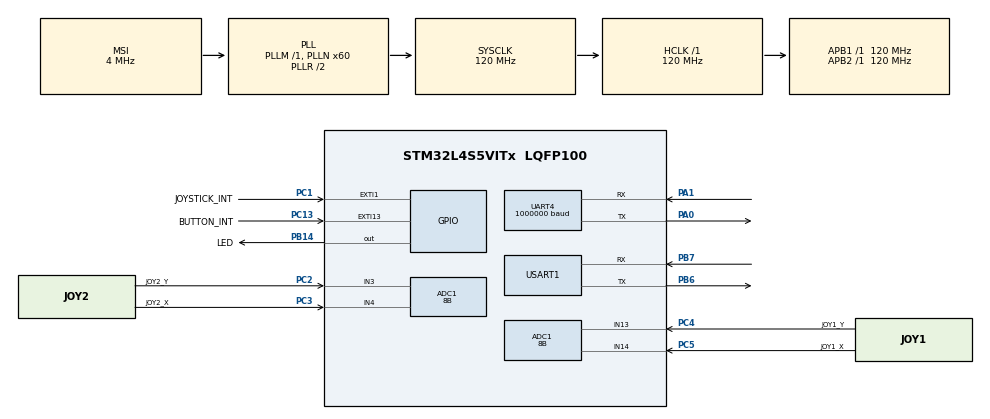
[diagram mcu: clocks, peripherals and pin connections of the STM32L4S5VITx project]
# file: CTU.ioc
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ADC1.Channel-0\#ChannelRegularConversion=ADC_CHANNEL_14
ADC1.Channel-1\#ChannelRegularConversion=ADC_CHANNEL_13
ADC1.Channel-2\#ChannelRegularConversion=ADC_CHANNEL_4
ADC1.Channel-3\#ChannelRegularConversion=ADC_CHANNEL_3
ADC1.ContinuousConvMode=DISABLE
ADC1.DiscontinuousConvMode=DISABLE
ADC1.NbrOfConversion=4
ADC1.NbrOfConversionFlag=1
ADC1.OffsetNumber-0\#ChannelRegularConversion=ADC_OFFSET_NONE
ADC1.OffsetNumber-1\#ChannelRegularConversion=ADC_OFFSET_NONE
ADC1.OffsetNumber-2\#ChannelRegularConversion=ADC_OFFSET_NONE
ADC1.OffsetNumber-3\#ChannelRegularConversion=ADC_OFFSET_NONE
ADC1.Rank-0\#ChannelRegularConversion=1
ADC1.Rank-1\#ChannelRegularConversion=2
ADC1.Rank-2\#ChannelRegularConversion=3
ADC1.Rank-3\#ChannelRegularConversion=4
ADC1.Resolution=ADC_RESOLUTION_8B
ADC1.SamplingTime-0\#ChannelRegularConversion=ADC_SAMPLETIME_47CYCLES_5
ADC1.SamplingTime-1\#ChannelRegularConversion=ADC_SAMPLETIME_47CYCLES_5
ADC1.SamplingTime-2\#ChannelRegularConversion=ADC_SAMPLETIME_47CYCLES_5
ADC1.SamplingTime-3\#ChannelRegularConversion=ADC_SAMPLETIME_47CYCLES_5
ADC1.master=1
Dma.ADC1.0.Direction=DMA_PERIPH_TO_MEMORY
Dma.ADC1.0.EventEnable=DISABLE
Dma.ADC1.0.Instance=DMA1_Channel1
Dma.ADC1.0.MemDataAlignment=DMA_MDATAALIGN_BYTE
Dma.ADC1.0.MemInc=DMA_MINC_ENABLE
Dma.ADC1.0.Mode=DMA_NORMAL
Dma.ADC1.0.PeriphDataAlignment=DMA_PDATAALIGN_HALFWORD
Dma.ADC1.0.PeriphInc=DMA_PINC_DISABLE
Dma.ADC1.0.Polarity=HAL_DMAMUX_REQUEST_GEN_RISING
Dma.ADC1.0.Priority=DMA_PRIORITY_LOW
Dma.ADC1.0.RequestNumber=1
Dma.ADC1.0.SignalID=NONE
Dma.ADC1.0.SyncEnable=DISABLE
Dma.ADC1.0.SyncPolarity=HAL_DMAMUX_SYNC_NO_EVENT
Dma.ADC1.0.SyncRequestNumber=1
Dma.ADC1.0.SyncSignalID=NONE
Dma.Request0=ADC1
Dma.Request1=USART1_TX
Dma.USART1_TX.1.Direction=DMA_MEMORY_TO_PERIPH
Dma.USART1_TX.1.EventEnable=DISABLE
Dma.USART1_TX.1.Instance=DMA1_Channel2
Dma.USART1_TX.1.MemDataAlignment=DMA_MDATAALIGN_BYTE
Dma.USART1_TX.1.MemInc=DMA_MINC_ENABLE
Dma.USART1_TX.1.Mode=DMA_NORMAL
Dma.USART1_TX.1.PeriphDataAlignment=DMA_PDATAALIGN_BYTE
Dma.USART1_TX.1.PeriphInc=DMA_PINC_DISABLE
Dma.USART1_TX.1.Polarity=HAL_DMAMUX_REQUEST_GEN_RISING
Dma.USART1_TX.1.Priority=DMA_PRIORITY_LOW
Dma.USART1_TX.1.RequestNumber=1
Dma.USART1_TX.1.SignalID=NONE
Dma.USART1_TX.1.SyncEnable=DISABLE
Dma.USART1_TX.1.SyncPolarity=HAL_DMAMUX_SYNC_NO_EVENT
Dma.USART1_TX.1.SyncRequestNumber=1
Dma.USART1_TX.1.SyncSignalID=NONE
Mcu.Family=STM32L4
Mcu.Name=STM32L4S5VITx
Mcu.Package=LQFP100
NVIC.DMA1_Channel1_IRQn=true\:0\:0\:false\:false\:true\:false\:true\:true
NVIC.DMA1_Channel2_IRQn=true\:0\:0\:false\:false\:true\:false\:true\:true
NVIC.EXTI15_10_IRQn=true\:0\:0\:false\:false\:true\:true\:true\:true
NVIC.EXTI1_IRQn=true\:0\:0\:false\:false\:true\:true\:true\:true
NVIC.PriorityGroup=NVIC_PRIORITYGROUP_4
NVIC.UART4_IRQn=true\:0\:0\:false\:false\:true\:true\:true\:true
NVIC.USART1_IRQn=true\:0\:0\:false\:false\:true\:true\:true\:true
PA0.Mode=Asynchronous
PA0.Signal=UART4_TX
PA1.Mode=Asynchronous
PA1.Signal=UART4_RX
PB14.GPIO_Label=LED
PB14.Signal=GPIO_Output
PB6.Mode=Asynchronous
PB6.Signal=USART1_TX
PB7.Mode=Asynchronous
PB7.Signal=USART1_RX
PC1.GPIO_Label=JOYSTICK_INT
PC1.GPIO_ModeDefaultEXTI=GPIO_MODE_IT_FALLING
PC1.Signal=GPXTI1
PC13.GPIO_Label=BUTTON_INT
PC13.Signal=GPXTI13
PC2.GPIO_Label=JOY2_Y
PC2.Signal=ADCx_IN3
PC3.GPIO_Label=JOY2_X
PC3.Signal=ADCx_IN4
PC4.GPIO_Label=JOY1_Y
PC4.Signal=ADCx_IN13
PC5.GPIO_Label=JOY1_X
PC5.Signal=ADCx_IN14
PE10.Signal=OCTOSPIM_P1_CLK
PE11.Signal=OCTOSPIM_P1_NCS
PE12.Signal=OCTOSPIM_P1_IO0
PE13.Signal=OCTOSPIM_P1_IO1
PE14.Signal=OCTOSPIM_P1_IO2
PE15.Signal=OCTOSPIM_P1_IO3
ProjectManager.HeapSize=0x200
ProjectManager.StackSize=0x400
ProjectManager.TargetToolchain=STM32CubeIDE
RCC.ADCFreq_Value=48000000
RCC.AHBFreq_Value=120000000
RCC.APB1Freq_Value=120000000
RCC.APB1TimFreq_Value=120000000
RCC.APB2Freq_Value=120000000
RCC.APB2TimFreq_Value=120000000
RCC.CortexFreq_Value=120000000
RCC.HCLKFreq_Value=120000000
RCC.HSE_VALUE=8000000
RCC.HSI48_VALUE=48000000
RCC.HSI_VALUE=16000000
RCC.LSE_VALUE=32768
RCC.MSI_VALUE=4000000
RCC.PLLN=60
RCC.PLLSAI1N=24
RCC.SYSCLKFreq_VALUE=120000000
RCC.SYSCLKSource=RCC_SYSCLKSOURCE_PLLCLK
RCC.USBFreq_Value=48000000
RCC.VCOOutputFreq_Value=240000000
SH.ADCx_IN13.0=ADC1_IN13,IN13-Single-Ended
SH.ADCx_IN14.0=ADC1_IN14,IN14-Single-Ended
SH.ADCx_IN3.0=ADC1_IN3,IN3-Single-Ended
SH.ADCx_IN4.0=ADC1_IN4,IN4-Single-Ended
UART4.BaudRate=1000000
USART1.VirtualMode-Asynchronous=VM_ASYNC
VP_OCTOSPI1_VS_quad.Mode=quad_mode
board=B-L4S5I-IOT01A

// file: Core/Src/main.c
/* USER CODE BEGIN Header */
/**
  ******************************************************************************
  * @file           : main.c
  * @brief          : Main program body
  ******************************************************************************
  * @attention
  *
  * Copyright (c) 2023 STMicroelectronics.
  * All rights reserved.
  *
  * This software is licensed under terms that can be found in the LICENSE file
  * in the root directory of this software component.
  * If no LICENSE file comes with this software, it is provided AS-IS.
  *
  ******************************************************************************
  */
/* USER CODE END Header */
#include "main.h"
#include "adc.h"
#include "dma.h"
#include "octospi.h"
#include "usart.h"
#include "gpio.h"

/* USER CODE BEGIN Includes */

#include "jci.h"

#include "stm32l4s5i_iot01_qspi.h"

/* USER CODE END Includes */

/* USER CODE BEGIN PD */

#define PRINT(s) HAL_UART_Transmit(&huart1, s, strlen(s), HAL_MAX_DELAY)
#define UIPRINT(s) HAL_UART_Transmit_DMA(&huart1, s, strlen(s))

/* USER CODE END PD */

/* USER CODE BEGIN PV */

/****** JCI protocol ******/

#define MAX_JCI_PACKET_SIZE (3 + 256 * 3 + 1)

//DATA SENDER TX
uint8_t txpacket[MAX_JCI_PACKET_SIZE] = {0};

volatile jci_t jci_tx = {
		.TRANS = 'S',
		.CHECKSUM_EN = 1,
		.GRAN = 1,
		.PTYPE = 0,
		.PSIZE = 4,
		.SOURCE = 0,
		.CONT = 1
};
uint8_t txdata[4] = {
		4,
		5,
		90,
		156
};
uint8_t txid[4] = {
		'0',
		'1',
		'y',
		'p'
};

//DATA SENDER RX
uint8_t rxpacket[MAX_JCI_PACKET_SIZE] = {0};
volatile jci_t jci_rx;
uint8_t rxdata[4] = {0};
uint8_t rxid[4] = {0};
volatile uint8_t rxflag = 0;

/****** State Logic ******/
typedef enum{
	STOPPED,
	REALTIME,
	PLAYBACK
}state_e;

volatile uint8_t state = REALTIME;	//state flag
volatile uint8_t recording = 0; 	//flag to indicate if recording
volatile uint8_t full = 0;

/****** Joystick ******/

//DMA storing address, array length of 4:
//Joy1_X, Joy1_Y, Joy2_X, Joy2_Y
volatile uint8_t joysticksVal[4];
volatile uint8_t conversionFlag = 0; //flag wait for conversion
char buff[200];

/****** Flash ******/

#define FLASH_BLOCK_SIZE 128000 // flash block size
volatile uint8_t* flash_write_ptr = 0;
volatile uint8_t* flash_read_ptr = 0;

/****** UI ******/
void ui_printTxData(jci_t jci, uint8_t* data, uint8_t* ids, uint8_t state, uint8_t rec);
#define MAX_UI_DELAY 100
uint32_t ui_timediff;

/* USER CODE END PV */

void SystemClock_Config(void);

int main(void)
{

  /* MCU Configuration--------------------------------------------------------*/

  /* Reset of all peripherals, Initializes the Flash interface and the Systick. */
  HAL_Init();

  /* Configure the system clock */
  SystemClock_Config();

  /* Initialize all configured peripherals */
  MX_GPIO_Init();
  MX_DMA_Init();
  MX_UART4_Init();
  MX_USART1_UART_Init();
  MX_ADC1_Init();
  MX_OCTOSPI1_Init();
  /* USER CODE BEGIN 2 */
  BSP_QSPI_Init();

  //JCI packets
  int txpacketsize = 0;
  uint8_t cflow = 0;

  //Playback recording
  uint32_t timediff = 0;
  uint8_t flash_buffer[2*MAX_JCI_PACKET_SIZE] = {0};

  //Delay control
	#define MAX_LOOP_DELAY 20 //loop delay in ms
  	uint32_t loop_delay = 0;

  	PRINT("\r\n/***** CTU init *****/\r\n");

    //Start RX
    HAL_UARTEx_ReceiveToIdle_IT(&huart4, rxpacket, MAX_JCI_PACKET_SIZE);

    //Initial time sampling
    timediff = HAL_GetTick();
    loop_delay = HAL_GetTick();

  /* USER CODE END 2 */

  /* Infinite loop */
  /* USER CODE BEGIN WHILE */
  while (1)
  {

	  /***** STATE CONTROL AND DATA ACQUISITION *****/
	  switch (state)
	  {
	  	  case STOPPED:

	  		  UIPRINT("\rSTOPPED                                                                       ");
	  		  //Put to sleep
	  		  HAL_SuspendTick();
	  		  HAL_PWR_EnableSleepOnExit();
	  		  HAL_PWR_EnterSLEEPMode(PWR_MAINREGULATOR_ON,PWR_SLEEPENTRY_WFI);

	  		  //Only comes out to main if change of state
	  		  HAL_ResumeTick();

	  		  //Reset time difference to current tick
	  		  timediff = HAL_GetTick();

	  		  //Reset recording state
	  		  recording = 0;
	  		  full = 0;
	  		  flash_write_ptr = 0;

	  		  break;

	  	  case PLAYBACK:

	  		  if(flash_read_ptr < flash_write_ptr){ //if not done reading

	  			//Read back joystick data
	  			BSP_QSPI_Read(flash_buffer, flash_read_ptr, 8);

	  			//Update flash pointer
	  			flash_read_ptr += 8;

	  			//Copy pot data
	  			memcpy(joysticksVal, flash_buffer, 4);

	  			//Copy delay
	  			memcpy(&timediff, flash_buffer + 4, 4);

	  		  }else{
	  			  //Playback done
	  			  recording = 2;
	  		  }
	  		  break;

	  	  case REALTIME:

			  //Joystick control values
			  jci_getPot();

			  break;
	  }

	  /***** JCI TX/RX *****/
	  //JCI tx packet
	  if(jci_tx.CONTACCEPT){
		  if(cflow == 0){
			  PRINT("\r\nENTERING C-flow\r\n");
			  cflow = 1;
		  }
		  //C-flow obtained
		  jci_tx.TRANS = 'C';
	  }else{
		  cflow = 0;
		  //Back to S packets
		  jci_tx.TRANS = 'S';
	  }
	  txpacketsize = jci_buildPacket(&jci_tx, joysticksVal, txid, txpacket);
	  if(txpacketsize == 0){
		  PRINT("\r\nERROR: build packet\r\n");
	  }else{
		  HAL_UART_Transmit(&huart4, txpacket, txpacketsize, HAL_MAX_DELAY);
	  }

//	  //Check for JCI RX packet
//	  if(rxflag){
//		  rxflag = 0;
//
//		  ui_printRxData(jci_rx, rxdata, rxid);
//
//		  //Wait for next packet
//		  HAL_UARTEx_ReceiveToIdle_IT(&huart4, rxpacket, MAX_JCI_PACKET_SIZE);
//	  }

	  /***** RECORDING *****/
	  //Playback recording
	  if(recording == 1){ //start or continue recording
		  //Record to Flash with time passed from previous sample
		  //to reproduce the delays accurately

		  //Copy pot data
		  memcpy(flash_buffer, joysticksVal, 4);

		  //Copy delay
		  timediff = HAL_GetTick() - timediff;
		  memcpy(flash_buffer + 4, &timediff, 4);
		  timediff = HAL_GetTick();

		  //Check if full, in which case stop recording and indicate
		  //that it's full

		  //Store into Flash
		  BSP_QSPI_Write(flash_buffer, flash_write_ptr, 8);

		  //Update flash pointer
		  flash_write_ptr += 8;

		  if(flash_write_ptr > FLASH_BLOCK_SIZE){
			  full = 1;
			  recording = 2;
			  UIPRINT("\r\n/***** Flash Full - Back to RealTime *****/\r\n");
		  }

	  }

	  HAL_Delay(20);

	  /***** UI *****/
	  if((HAL_GetTick() - ui_timediff) > MAX_UI_DELAY){
		  ui_timediff = HAL_GetTick();

		  //CLI current data and IDs for joystick values
		  ui_printTxData(jci_tx, joysticksVal, txid, state, recording);

	  }

	  /***** LOOP DELAY *****/
	  while((HAL_GetTick() - loop_delay) < MAX_LOOP_DELAY){}
	  loop_delay = HAL_GetTick();

    /* USER CODE END WHILE */

  }
}

void SystemClock_Config(void)
{
  RCC_OscInitTypeDef RCC_OscInitStruct = {0};
  RCC_ClkInitTypeDef RCC_ClkInitStruct = {0};

  /** Configure the main internal regulator output voltage
  */
  if (HAL_PWREx_ControlVoltageScaling(PWR_REGULATOR_VOLTAGE_SCALE1_BOOST) != HAL_OK)
  {
    Error_Handler();
  }

  /** Initializes the RCC Oscillators according to the specified parameters
  * in the RCC_OscInitTypeDef structure.
  */
  RCC_OscInitStruct.OscillatorType = RCC_OSCILLATORTYPE_MSI;
  RCC_OscInitStruct.MSIState = RCC_MSI_ON;
  RCC_OscInitStruct.MSICalibrationValue = 0;
  RCC_OscInitStruct.MSIClockRange = RCC_MSIRANGE_6;
  RCC_OscInitStruct.PLL.PLLState = RCC_PLL_ON;
  RCC_OscInitStruct.PLL.PLLSource = RCC_PLLSOURCE_MSI;
  RCC_OscInitStruct.PLL.PLLM = 1;
  RCC_OscInitStruct.PLL.PLLN = 60;
  RCC_OscInitStruct.PLL.PLLP = RCC_PLLP_DIV2;
  RCC_OscInitStruct.PLL.PLLQ = RCC_PLLQ_DIV2;
  RCC_OscInitStruct.PLL.PLLR = RCC_PLLR_DIV2;
  if (HAL_RCC_OscConfig(&RCC_OscInitStruct) != HAL_OK)
  {
    Error_Handler();
  }

  /** Initializes the CPU, AHB and APB buses clocks
  */
  RCC_ClkInitStruct.ClockType = RCC_CLOCKTYPE_HCLK|RCC_CLOCKTYPE_SYSCLK
                              |RCC_CLOCKTYPE_PCLK1|RCC_CLOCKTYPE_PCLK2;
  RCC_ClkInitStruct.SYSCLKSource = RCC_SYSCLKSOURCE_PLLCLK;
  RCC_ClkInitStruct.AHBCLKDivider = RCC_SYSCLK_DIV1;
  RCC_ClkInitStruct.APB1CLKDivider = RCC_HCLK_DIV1;
  RCC_ClkInitStruct.APB2CLKDivider = RCC_HCLK_DIV1;

  if (HAL_RCC_ClockConfig(&RCC_ClkInitStruct, FLASH_LATENCY_5) != HAL_OK)
  {
    Error_Handler();
  }
}

/* USER CODE BEGIN 4 */

uint32_t but_debounce = 0;
uint32_t joy_debounce = 0;
#define MIN_DEBOUNCE_TIME 100

void HAL_GPIO_EXTI_Callback(uint16_t GPIO_Pin){

	if(GPIO_Pin == BUTTON_INT_Pin){

		if(((HAL_GetTick() - but_debounce) > MIN_DEBOUNCE_TIME) || (state == STOPPED)){

			but_debounce = HAL_GetTick();

			//State change
			state++;
			if(state > PLAYBACK){
				state = STOPPED;
			}

			if(state == PLAYBACK){
				UIPRINT("\r\n/***** Playback Mode *****/\r\n");
				//Reset Flash read logic
				full = 0;
				flash_read_ptr = 0;
				recording = 0;

			}

			if (state == REALTIME){
				UIPRINT("\r\n/***** RealTime Mode *****/\r\n");
			}

			//Wake up to new state
			HAL_PWR_DisableSleepOnExit();

		}

	}

	//Can only record if realtime
	if(GPIO_Pin == JOYSTICK_INT_Pin && (state == REALTIME)){

		if((HAL_GetTick() - joy_debounce) > MIN_DEBOUNCE_TIME){

			joy_debounce = HAL_GetTick();

			//Toggle the recording state
			recording = !recording;

			//If recording, reset Flash state
			if(recording == 1){

				//UIPRINT("\r\n/***** Recording Mode *****/\r\n");
				//Erase Flash Block (only using first one)
				BSP_QSPI_Erase_Block(0);

				//Reset recording logic
				full = 0;
				flash_write_ptr = 0;
			}

			//If exiting recording, message to state it
			if(recording == 0){

				UIPRINT("\r\n/***** Recording Stopped - Back to RealTime *****/\r\n");

			}

		}

	}

}

void HAL_UARTEx_RxEventCallback(UART_HandleTypeDef *huart, uint16_t Size){

	if(huart == &huart4){

		char trans = ' ';
		uint8_t* addr;

		char buffer[256];
		int rxpacketsize = 0;

		//Check for JCI packet
		addr = jci_findPacket(rxpacket, Size, &trans);
		if(trans != ' '){

			//Parse packet
			rxpacketsize = jci_parsePacket(&jci_rx, rxdata, rxid, addr);

			//Check for C-flow
			jci_confirmCFlow(&jci_tx, txid, &jci_rx, rxid);

			//Indicate that packet is received
			rxflag = 1;
		}

		//RX again
		HAL_UARTEx_ReceiveToIdle_IT(&huart4, rxpacket, MAX_JCI_PACKET_SIZE);

	}

}

//function to update the joystick values
void jci_getPot(void) {

	//calibrate ADC
	HAL_ADCEx_Calibration_Start(&hadc1, ADC_SINGLE_ENDED); //single ended reference if we look at the figures of the ADC

	//start ADC DMA
	HAL_ADC_Start_DMA(&hadc1, (uint32_t *)joysticksVal, 4);

	while(conversionFlag == 0) {
		//wait for conversion to end
	}

	//clear flag
	conversionFlag = 0;

}

void HAL_ADC_ConvCpltCallback(ADC_HandleTypeDef *hadc) {

	if (hadc == &hadc1) {
	//send 1 when conversion flag is done
	conversionFlag = 1;
	}
}

char buffer[256] = {0};

void ui_printTxData(jci_t jci, uint8_t* data, uint8_t* ids, uint8_t state, uint8_t rec) {
    int offset = 0;

    // Print carriage return to overwrite the old output
    offset += sprintf(buffer + offset, "\r");

    //Print the state
    switch (state) {
        case PLAYBACK:
            offset += sprintf(buffer + offset, "PLAYBACK");

            if(rec == 2){
            	offset += sprintf(buffer + offset, "\t DONE                                                       ");
            	UIPRINT(buffer);
            	return;
            }
            break;
        case REALTIME:
            offset += sprintf(buffer + offset, "REALTIME");

            if(rec == 2){
            	offset += sprintf(buffer + offset, "\t FULL ");
            }
            else if(rec == 1){
            	offset += sprintf(buffer + offset, "\t REC  ");
            }else{
            	offset += sprintf(buffer + offset, "\t     ");
            }
            break;
        case STOPPED:
        	return;
        default:
            offset += sprintf(buffer + offset, "UNKNOWN");
            break;
    }

    // Loop through each ID and data pair
    for (int i = 0; i < jci.PSIZE; i++) {
      offset += sprintf(buffer + offset, "ID");
        offset += sprintf(buffer + offset, "<%c>: ", ids[i]);

        // Check PTYPE to determine data type
        if (jci.PTYPE) {
            // uint16_t
            uint16_t* uint16_data = (uint16_t*)&data[i * 2];
            offset += sprintf(buffer + offset, "%03d", *uint16_data);
        } else {
            // uint8_t
            offset += sprintf(buffer + offset, "%03d", data[i]);
        }

        // Add a separator if it's not the last pair
        if (i < jci.PSIZE - 1) {
            offset += sprintf(buffer + offset, "   ");
        }
    }

    // Print the complete string
    UIPRINT(buffer);
}

void ui_printRxData(jci_t jci, uint8_t* data, uint8_t* ids) {
    char buffer[256];
    int offset = 0;

    offset += sprintf(buffer + offset, "\r\nPACKET RECEIVED: ");

    // Loop through each ID and data pair
    for (int i = 0; i < jci.PSIZE; i++) {
      offset += sprintf(buffer + offset, "ID");
        offset += sprintf(buffer + offset, "<%c>: ", ids[i]);

        // Check PTYPE to determine data type
        if (jci.PTYPE) {
            // uint16_t
            uint16_t* uint16_data = (uint16_t*)&data[i * 2];
            offset += sprintf(buffer + offset, "%03d", *uint16_data);
        } else {
            // uint8_t
            offset += sprintf(buffer + offset, "%03d", data[i]);
        }

        // Add a separator if it's not the last pair
        if (i < jci.PSIZE - 1) {
            offset += sprintf(buffer + offset, "   ");
        }
    }

    offset += sprintf(buffer + offset, "\r\n");

    // Print the complete string
    UIPRINT(buffer);
}

/* USER CODE END 4 */

void Error_Handler(void)
{
  __disable_irq();
  while (1)
  {
  }
}
